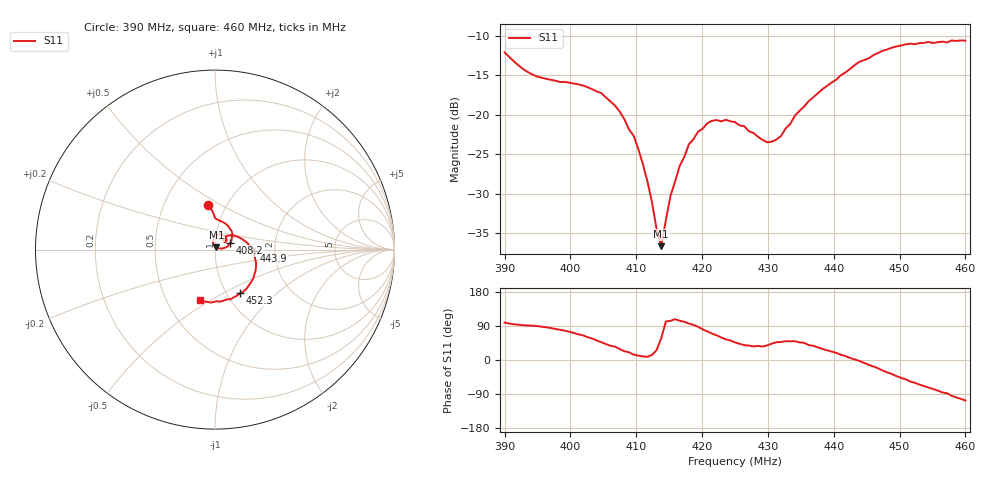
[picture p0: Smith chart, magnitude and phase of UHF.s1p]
# HZ S RI R 50
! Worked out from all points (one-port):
!   101 points, 390 MHz to 460 MHz, reference 50 ohm
!   lowest |S11| = -36.6 dB at 413.8 MHz (marker M1), VSWR 1.03, Z = 50.8 + j1.27 ohm
!   |S11| at or under -10 dB: start of sweep to end of sweep
!   S11 on the Smith chart (normalised r, x): 390 MHz: 0.83, +0.43; 408.2 MHz: 1.19, +0.09; 443.9 MHz: 1.55, -0.03; 452.3 MHz: 1.15, -0.61; 460 MHz: 0.73, -0.45
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3.9e8  -0.0374 0.2459
3.942e8  -0.00149 0.1805
3.991e8  0.0349 0.1581
4.047e8  0.094 0.1001
4.075e8  0.0916 0.0507
4.082e8  0.0863 0.0367
4.096e8  0.0717 0.0178
4.11e8  0.0483 0.00812
4.124e8  0.0271 0.00654
4.131e8  0.0169 0.0083
4.138e8  0.00782 0.0125
4.152e8  -0.00703 0.0299
4.166e8  -0.011 0.0462
4.18e8  -0.00678 0.0648
4.208e8  0.022 0.0859
4.222e8  0.039 0.0843
4.25e8  0.0621 0.0652
4.299e8  0.0525 0.0417
4.32e8  0.0497 0.0543
4.341e8  0.0642 0.0753
4.383e8  0.1274 0.0708
4.425e8  0.1949 0.0183
4.439e8  0.2168 -0.00972
4.474e8  0.2259 -0.1177
4.516e8  0.1557 -0.2358
4.523e8  0.1398 -0.2431
4.565e8  0.023 -0.2903
4.6e8  -0.0858 -0.2825
